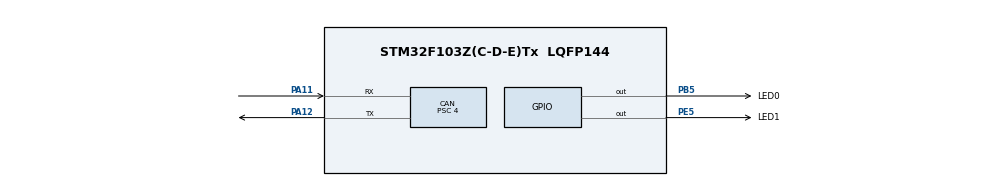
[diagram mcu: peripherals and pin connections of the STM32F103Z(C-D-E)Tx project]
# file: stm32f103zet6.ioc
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CAN.BS1=CAN_BS1_14TQ
CAN.BS2=CAN_BS2_3TQ
CAN.CalculateBaudRate=500000
CAN.CalculateTimeBit=2000
CAN.CalculateTimeQuantum=111.11111111111111
CAN.Prescaler=4
Mcu.Family=STM32F1
Mcu.Name=STM32F103Z(C-D-E)Tx
Mcu.Package=LQFP144
NVIC.CAN1_RX1_IRQn=true\:0\:0\:false\:false\:true\:true\:true\:true
NVIC.PriorityGroup=NVIC_PRIORITYGROUP_4
NVIC.USB_HP_CAN1_TX_IRQn=true\:3\:0\:true\:false\:true\:true\:true\:true
OSC_IN.Mode=HSE-External-Oscillator
OSC_IN.Signal=RCC_OSC_IN
OSC_OUT.Mode=HSE-External-Oscillator
OSC_OUT.Signal=RCC_OSC_OUT
PA11.Mode=CAN_Activate
PA11.Signal=CAN_RX
PA12.Mode=CAN_Activate
PA12.Signal=CAN_TX
PA13.Mode=Serial_Wire
PA13.Signal=SYS_JTMS-SWDIO
PA14.Mode=Serial_Wire
PA14.Signal=SYS_JTCK-SWCLK
PB5.GPIO_Label=LED0
PB5.GPIO_ModeDefaultOutputPP=GPIO_MODE_OUTPUT_PP
PB5.GPIO_PuPd=GPIO_PULLDOWN
PB5.GPIO_Speed=GPIO_SPEED_FREQ_MEDIUM
PB5.Signal=GPIO_Output
PE5.GPIO_Label=LED1
PE5.GPIO_PuPd=GPIO_PULLDOWN
PE5.GPIO_Speed=GPIO_SPEED_FREQ_MEDIUM
PE5.Signal=GPIO_Output
ProjectManager.HeapSize=0x200
ProjectManager.StackSize=0x400
ProjectManager.TargetToolchain=MDK-ARM V5.32
RCC.AHBFreq_Value=72000000
RCC.APB1CLKDivider=RCC_HCLK_DIV2
RCC.APB1Freq_Value=36000000
RCC.APB1TimFreq_Value=72000000
RCC.APB2Freq_Value=72000000
RCC.APB2TimFreq_Value=72000000
RCC.HCLKFreq_Value=72000000
RCC.PLLMUL=RCC_PLL_MUL9
RCC.PLLSourceVirtual=RCC_PLLSOURCE_HSE
RCC.SYSCLKFreq_VALUE=72000000
RCC.SYSCLKSource=RCC_SYSCLKSOURCE_PLLCLK
RCC.USBFreq_Value=72000000
board=custom

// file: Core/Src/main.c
/* USER CODE BEGIN Header */
/**
  ******************************************************************************
  * @file           : main.c
  * @brief          : Main program body
  ******************************************************************************
  * @attention
  *
  * Copyright (c) 2025 STMicroelectronics.
  * All rights reserved.
  *
  * This software is licensed under terms that can be found in the LICENSE file
  * in the root directory of this software component.
  * If no LICENSE file comes with this software, it is provided AS-IS.
  *
  ******************************************************************************
  */
/* USER CODE END Header */
#include "main.h"
#include "can.h"
#include "gpio.h"

/* USER CODE BEGIN Includes */
uint8_t testRB = 0;
uint8_t test = 0;
/* USER CODE END Includes */

/* USER CODE BEGIN PM */
// 一次性发送50条报文
void CAN_Test_Send50Frames_Use_Ringbuffer(void)
{
    uint8_t payload[8] = { 0x01, 0x02, 0x03, 0x04,
                           0x05, 0x06, 0x07, 0x08 };
    uint8_t sent = 0;

    for (uint32_t id = 0x200; id < 0x200 + 50; ++id) {
        CAN_Send_CAN_STD_Message(id, payload, sizeof(payload)); // 往Tx ringbuffer一口气丢50个CAN报文
    }
}

void CAN_Test_Send50Frames(void)
{
    uint8_t payload[8] = { 0x01, 0x02, 0x03, 0x04,
                           0x05, 0x06, 0x07, 0x08 };
    uint8_t sent = 0;

    for (uint32_t id = 0x200; id < 0x200 + 50; ++id) {
        CAN_Send_STD_DATA_Msg_No_Serial(id, payload, sizeof(payload)); // 没有经过Tx ringbuffer，一口气往发送邮箱发送50个CAN报文
    }
}
/* USER CODE END PM */

void SystemClock_Config(void);

int main(void)
{
  /* USER CODE BEGIN 1 */
  uint32_t fre = 0;
  /* USER CODE END 1 */

  /* MCU Configuration--------------------------------------------------------*/

  /* Reset of all peripherals, Initializes the Flash interface and the Systick. */
  HAL_Init();

  /* Configure the system clock */
  SystemClock_Config();

  /* Initialize all configured peripherals */
  MX_GPIO_Init();
  MX_CAN_Init();
  /* USER CODE BEGIN 2 */
  CAN_Config(); // 初始化外设CAN
  /* USER CODE END 2 */

  /* Infinite loop */
  while (1)
  {

    /* USER CODE BEGIN 3 */
    if (fre % 100 == 0) { // 100ms
        LL_GPIO_TogglePin(LED0_GPIO_Port,LED0_Pin);
    }

    /* 测试代码 */
    if (testRB == 1) {
        testRB = 0;
        CAN_Test_Send50Frames_Use_Ringbuffer();
    }

    if (test == 1) {
        test = 0;
        CAN_Test_Send50Frames();
    }
    CAN_Get_CANMsg_From_RB_To_TXMailBox(); // 主循环周期调用的批量补发函数
    fre++;
    LL_mDelay(1);
  }
  /* USER CODE END 3 */
}

void SystemClock_Config(void)
{
  LL_FLASH_SetLatency(LL_FLASH_LATENCY_2);
  while(LL_FLASH_GetLatency()!= LL_FLASH_LATENCY_2)
  {
  }
  LL_RCC_HSE_Enable();

   /* Wait till HSE is ready */
  while(LL_RCC_HSE_IsReady() != 1)
  {

  }
  LL_RCC_PLL_ConfigDomain_SYS(LL_RCC_PLLSOURCE_HSE_DIV_1, LL_RCC_PLL_MUL_9);
  LL_RCC_PLL_Enable();

   /* Wait till PLL is ready */
  while(LL_RCC_PLL_IsReady() != 1)
  {

  }
  LL_RCC_SetAHBPrescaler(LL_RCC_SYSCLK_DIV_1);
  LL_RCC_SetAPB1Prescaler(LL_RCC_APB1_DIV_2);
  LL_RCC_SetAPB2Prescaler(LL_RCC_APB2_DIV_1);
  LL_RCC_SetSysClkSource(LL_RCC_SYS_CLKSOURCE_PLL);

   /* Wait till System clock is ready */
  while(LL_RCC_GetSysClkSource() != LL_RCC_SYS_CLKSOURCE_STATUS_PLL)
  {

  }
  LL_SetSystemCoreClock(72000000);

   /* Update the time base */
  if (HAL_InitTick (TICK_INT_PRIORITY) != HAL_OK)
  {
    Error_Handler();
  }
}

void Error_Handler(void)
{
  __disable_irq();
  while (1)
  {
  }
}
